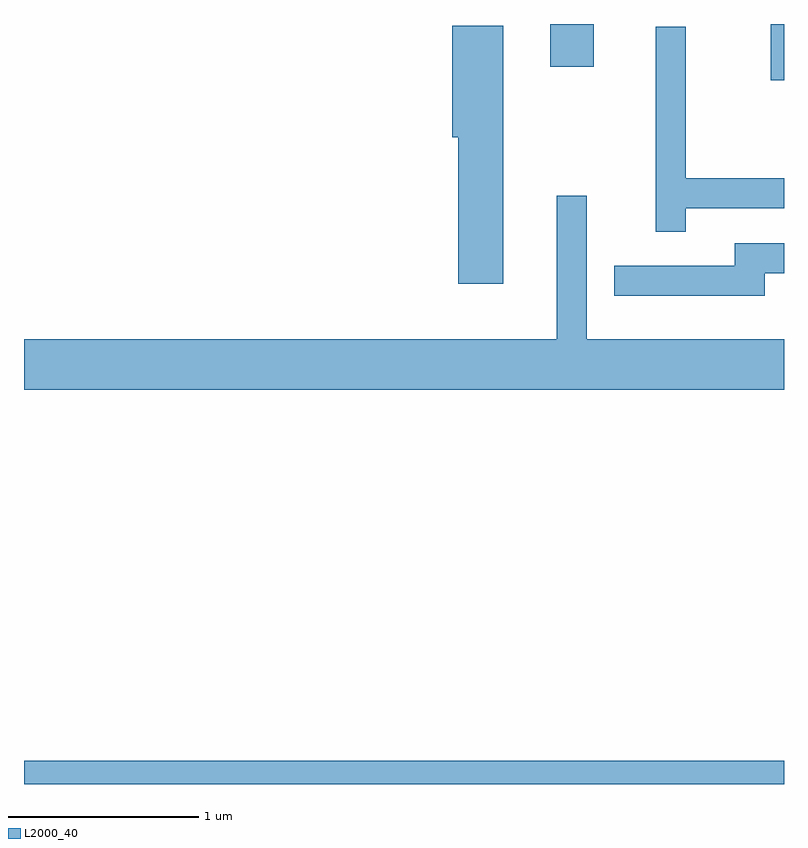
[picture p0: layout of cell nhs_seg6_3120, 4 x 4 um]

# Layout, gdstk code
import gdstk
lib = gdstk.Library(unit=1e-6, precision=1e-09)
def R(c, l, rs):  # rectangles x0, y0, x1, y1
    for r in rs: c.add(gdstk.rectangle(r[:2], r[2:], *l))
def P(c, l, *ps):  # polygons
    for p in ps: c.add(gdstk.Polygon(p, *l))
L2000_40 = (2000, 40)

nhs_seg6_3120 = lib.new_cell('nhs_seg6_3120')
R(nhs_seg6_3120, L2000_40, [(279.611,1570.162,283.611,1570.284), (283.541,1573.866,283.611,1574.162), (282.381,1573.936,282.609,1574.162)])
P(nhs_seg6_3120, L2000_40, [(282.134,1574.154),(281.866,1574.154),(281.866,1573.566),(281.896,1573.566),(281.896,1572.796),(282.134,1572.796)],
  [(283.094,1573.191),(283.611,1573.191),(283.611,1573.349),(283.094,1573.349),(283.094,1574.148),(282.936,1574.148),(282.936,1573.068),(283.094,1573.068)],
  [(283.611,1572.504),(282.574,1572.504),(282.574,1573.258),(282.416,1573.258),(282.416,1572.504),(279.611,1572.504),(279.611,1572.236),(283.611,1572.236)],
  [(283.509,1572.851),(283.611,1572.851),(283.611,1573.009),(283.351,1573.009),(283.351,1572.889),(282.718,1572.889),(282.718,1572.731),(283.509,1572.731)])

lib.write_gds('nhs_seg6_3120.gds')
